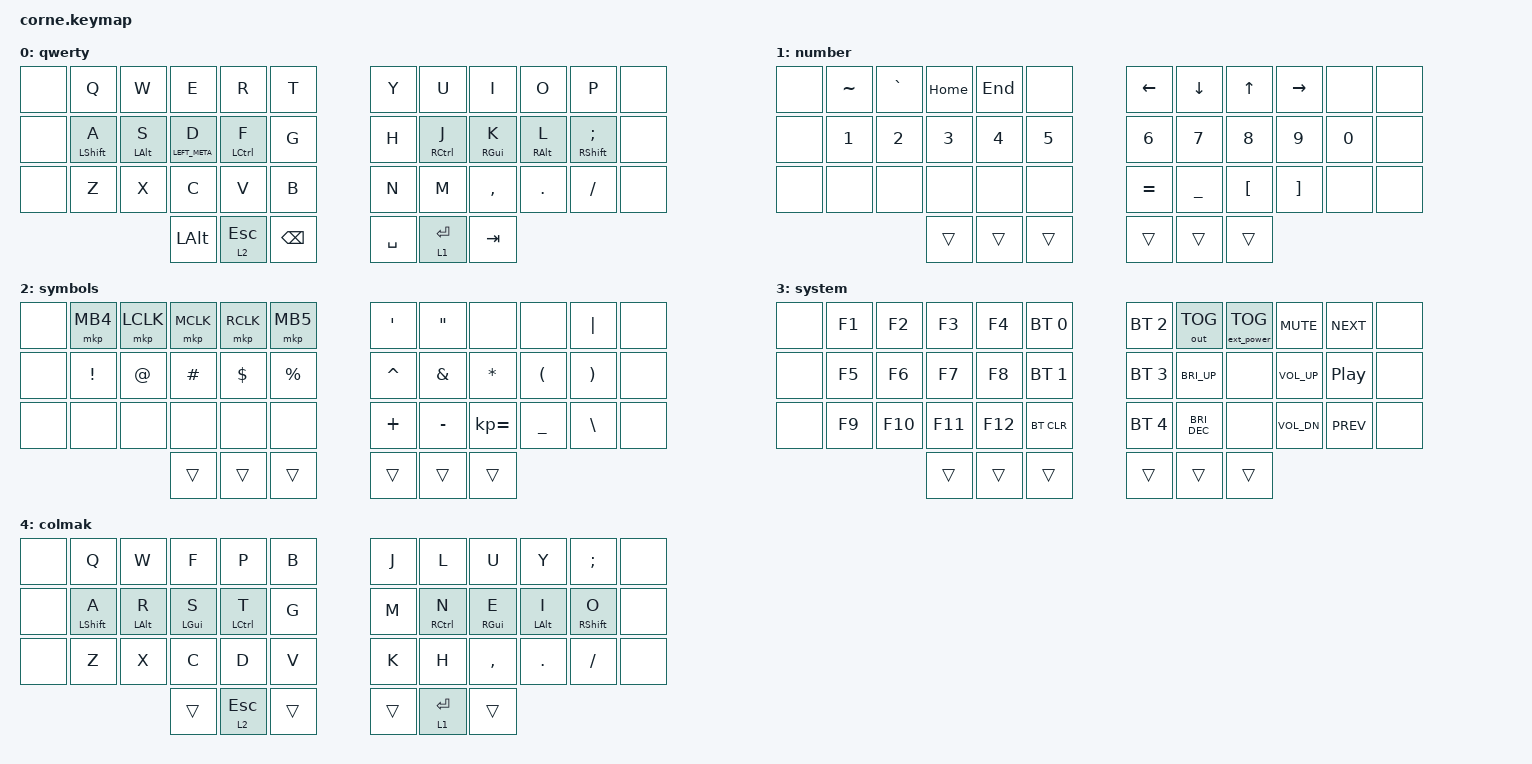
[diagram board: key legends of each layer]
// Copyright (c) 2022 The ZMK Contributors
// SPDX-License-Identifier: MIT

#include <dt-bindings/zmk/mouse.h>
#include <behaviors.dtsi>
#include <dt-bindings/zmk/bt.h>
#include <dt-bindings/zmk/ext_power.h>
#include <dt-bindings/zmk/keys.h>
#include <dt-bindings/zmk/outputs.h>
#include <dt-bindings/zmk/pointing.h>

&glidepoint_listener {
    status = "okay";
};

/ {
    glidepoint_listener {
        compatible = "zmk,input-listener";
        device = <&glidepoint>;
        input-processors = <&zip_xy_transform (INPUT_TRANSFORM_XY_SWAP | INPUT_TRANSFORM_X_INVERT | INPUT_TRANSFORM_Y_INVERT)>;
    };
};

/ {
    behaviors {
        ht: hold_tap {
            label = "hold_tap";
            compatible = "zmk,behavior-hold-tap";
            #binding-cells = <2>;
            flavor = "tap-preferred";
            tapping-term-ms = <200>;
            quick-tap-ms = <150>;
            bindings = <&kp>, <&kp>;
        };
    };

    conditional_layers {
        compatible = "zmk,conditional-layers";

        system {
            if-layers = <1 2>;
            then-layer = <3>;
        };
    };

    // Outside "&none" placement is because it is a 36 key corne, so the outside PCB was broken off. Need those there to match the shield

    combos {
        compatible = "zmk,combos";

        to_cdh {
            bindings = <&to 4>;
            key-positions = <25 34 33 26>;
            layers = <0>;
        };

        to_qwerty {
            bindings = <&to 0>;
            key-positions = <25 34 26 33>;
            layers = <4>;
        };

        LBracket {
            bindings = <&kp LEFT_BRACKET>;
            key-positions = <14 15>;
        };

        RBracket {
            bindings = <&kp RIGHT_BRACKET>;
            key-positions = <20 21>;
        };

        LBrace {
            bindings = <&kp LEFT_BRACE>;
            key-positions = <15 16>;
        };

        RBrace {
            bindings = <&kp RIGHT_BRACE>;
            key-positions = <19 20>;
        };
    };

    keymap {
        compatible = "zmk,keymap";

        qwerty {
            bindings = <
&none  &kp Q             &kp W           &kp E            &kp R               &kp T       &kp Y      &kp U                &kp I            &kp O            &kp P                      &none
&none  &ht LEFT_SHIFT A  &ht LEFT_ALT S  &ht LEFT_META D  &ht LEFT_CONTROL F  &kp G       &kp H      &ht RIGHT_CONTROL J  &ht RIGHT_GUI K  &ht RIGHT_ALT L  &ht RIGHT_SHIFT SEMICOLON  &none
&none  &kp Z             &kp X           &kp C            &kp V               &kp B       &kp N      &kp M                &kp COMMA        &kp DOT          &kp SLASH                  &none
                                         &kp LALT         &lt 2 ESC           &kp BSPC    &kp SPACE  &lt 1 ENTER          &kp TAB
            >;

            label = "qwerty";
        };

        number {
            bindings = <
&none  &kp TILDE  &kp GRAVE  &kp HOME  &kp END  &none     &kp LEFT   &kp DOWN   &kp UP_ARROW  &kp RIGHT  &none   &none
&none  &kp N1     &kp N2     &kp N3    &kp N4   &kp N5    &kp N6     &kp N7     &kp N8        &kp N9     &kp N0  &none
&none  &none      &none      &none     &none    &none     &kp EQUAL  &kp UNDER  &kp LBKT      &kp RBKT   &none   &none
                             &trans    &trans   &trans    &trans     &trans     &trans
            >;

            label = "number";
        };

        symbols {
            bindings = <
&none  &mkp MB4  &mkp LCLK  &mkp MCLK  &mkp RCLK  &mkp MB5     &kp SQT    &kp DQT    &none         &none      &kp PIPE       &none
&none  &kp EXCL  &kp AT     &kp HASH   &kp DLLR   &kp PRCNT    &kp CARET  &kp AMPS   &kp ASTRK     &kp LPAR   &kp RPAR       &none
&none  &none     &none      &none      &none      &none        &kp PLUS   &kp MINUS  &kp KP_EQUAL  &kp UNDER  &kp BACKSLASH  &none
                            &trans     &trans     &trans       &trans     &trans     &trans
            >;

            label = "symbols";
        };

        system {
            bindings = <
&none  &kp F1  &kp F2   &kp F3   &kp F4   &bt BT_SEL 0    &bt BT_SEL 2  &out OUT_TOG   &ext_power EP_TOG  &kp C_MUTE    &kp C_NEXT  &none
&none  &kp F5  &kp F6   &kp F7   &kp F8   &bt BT_SEL 1    &bt BT_SEL 3  &kp C_BRI_UP   &none              &kp C_VOL_UP  &kp C_PP    &none
&none  &kp F9  &kp F10  &kp F11  &kp F12  &bt BT_CLR      &bt BT_SEL 4  &kp C_BRI_DEC  &none              &kp C_VOL_DN  &kp C_PREV  &none
                        &trans   &trans   &trans          &trans        &trans         &trans
            >;

            label = "system";
        };

        colmak-dh {
            bindings = <
&none  &kp Q             &kp W           &kp F           &kp P               &kp B     &kp J   &kp L                &kp U            &kp Y           &kp SEMI           &none
&none  &ht LEFT_SHIFT A  &ht LEFT_ALT R  &ht LEFT_GUI S  &ht LEFT_CONTROL T  &kp G     &kp M   &ht RIGHT_CONTROL N  &ht RIGHT_GUI E  &ht LEFT_ALT I  &ht RIGHT_SHIFT O  &none
&none  &kp Z             &kp X           &kp C           &kp D               &kp V     &kp K   &kp H                &kp COMMA        &kp DOT         &kp FSLH           &none
                                         &trans          &lt 2 ESCAPE        &trans    &trans  &lt 1 ENTER          &trans
            >;

            label = "colmak";
        };
    };
};

/ {
    chosen { zmk,battery = &vbatt; };

    vbatt: vbatt {
        compatible = "zmk,battery-nrf-vddh";
        label = "VBATT";
    };
};
